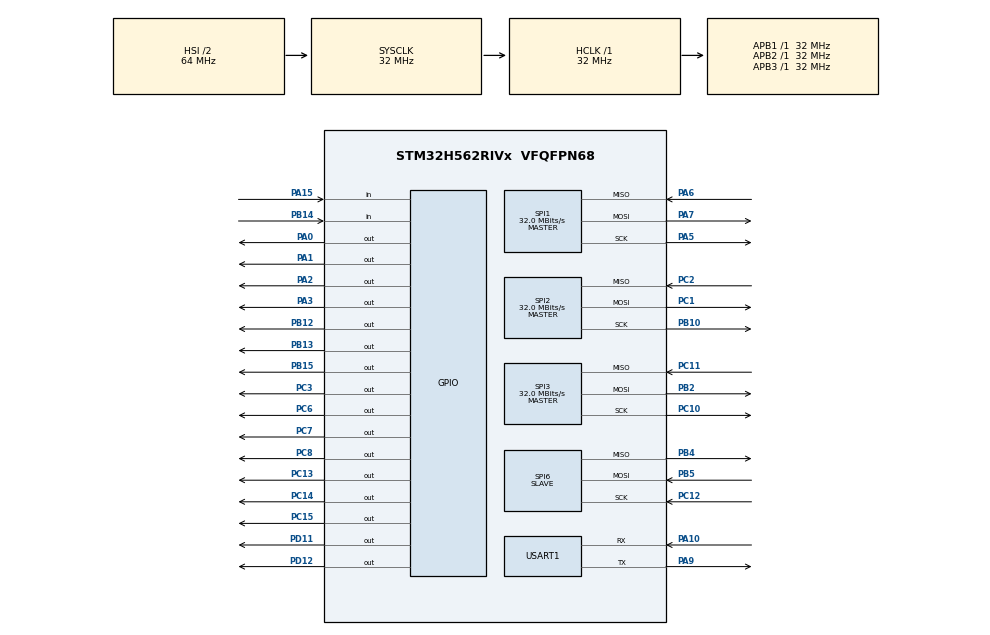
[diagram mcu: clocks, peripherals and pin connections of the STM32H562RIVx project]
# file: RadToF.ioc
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BOOTPATH.BootPathName=LEGACY
BOOTPATH.UserSelectedBootPath=LEGACY
CORTEX_M33_NS.userName=CORTEX_M33
Mcu.Family=STM32H5
Mcu.Name=STM32H562RIVx
Mcu.Package=VFQFPN68
NVIC.PriorityGroup=NVIC_PRIORITYGROUP_4
PA0.Signal=GPIO_Output
PA1.Signal=GPIO_Output
PA10.Mode=Asynchronous
PA10.Signal=USART1_RX
PA13(JTMS/SWDIO).Mode=Serial_Wire
PA13(JTMS/SWDIO).Signal=DEBUG_JTMS-SWDIO
PA14(JTCK/SWCLK).Mode=Serial_Wire
PA14(JTCK/SWCLK).Signal=DEBUG_JTCK-SWCLK
PA15(JTDI).Signal=GPIO_Input
PA2.Signal=GPIO_Output
PA3.Signal=GPIO_Output
PA5.Mode=Full_Duplex_Master
PA5.Signal=SPI1_SCK
PA6.Mode=Full_Duplex_Master
PA6.Signal=SPI1_MISO
PA7.Mode=Full_Duplex_Master
PA7.Signal=SPI1_MOSI
PA9.Mode=Asynchronous
PA9.Signal=USART1_TX
PB10.Mode=Full_Duplex_Master
PB10.Signal=SPI2_SCK
PB12.Signal=GPIO_Output
PB13.Signal=GPIO_Output
PB14.Signal=GPIO_Input
PB15.Signal=GPIO_Output
PB2.Mode=Full_Duplex_Master
PB2.Signal=SPI3_MOSI
PB3(JTDO/TRACESWO).Signal=DEBUG_JTDO-SWO
PB4(NJTRST).Mode=Full_Duplex_Slave
PB4(NJTRST).Signal=SPI6_MISO
PB5.Mode=Full_Duplex_Slave
PB5.Signal=SPI6_MOSI
PC1.Mode=Full_Duplex_Master
PC1.Signal=SPI2_MOSI
PC10.Mode=Full_Duplex_Master
PC10.Signal=SPI3_SCK
PC11.Mode=Full_Duplex_Master
PC11.Signal=SPI3_MISO
PC12.Mode=Full_Duplex_Slave
PC12.Signal=SPI6_SCK
PC13.Signal=GPIO_Output
PC14-OSC32_IN(OSC32_IN).Signal=GPIO_Output
PC15-OSC32_OUT(OSC32_OUT).Signal=GPIO_Output
PC2.Mode=Full_Duplex_Master
PC2.Signal=SPI2_MISO
PC3.Signal=GPIO_Output
PC6.Signal=GPIO_Output
PC7.Signal=GPIO_Output
PC8.Signal=GPIO_Output
PD11.Signal=GPIO_Output
PD12.Signal=GPIO_Output
ProjectManager.HeapSize=0x200
ProjectManager.StackSize=0x400
ProjectManager.TargetToolchain=STM32CubeIDE
RCC.ADCFreq_Value=32000000
RCC.AHBFreq_Value=32000000
RCC.APB1Freq_Value=32000000
RCC.APB1TimFreq_Value=32000000
RCC.APB2Freq_Value=32000000
RCC.APB2TimFreq_Value=32000000
RCC.APB3Freq_Value=32000000
RCC.CSI_VALUE=4000000
RCC.CortexFreq_Value=32000000
RCC.EPOD_VALUE=4000000
RCC.HCLKFreq_Value=32000000
RCC.HSE_VALUE=25000000
RCC.HSI48_VALUE=48000000
RCC.HSI_VALUE=64000000
RCC.LSE_VALUE=32768
RCC.LSIRC_VALUE=32000
RCC.PLLFRACN=0
RCC.PLLN=32
RCC.SYSCLKFreq_VALUE=32000000
RCC.USBFreq_Value=48000000
RCC.VCOOutputFreq_Value=128000000
SPI1.CalculateBaudRate=32.0 MBits/s
SPI1.DataSize=SPI_DATASIZE_8BIT
SPI1.Direction=SPI_DIRECTION_2LINES
SPI1.Mode=SPI_MODE_MASTER
SPI1.VirtualType=VM_MASTER
SPI2.CalculateBaudRate=32.0 MBits/s
SPI2.DataSize=SPI_DATASIZE_8BIT
SPI2.Direction=SPI_DIRECTION_2LINES
SPI2.Mode=SPI_MODE_MASTER
SPI2.VirtualType=VM_MASTER
SPI3.BaudRatePrescaler=SPI_BAUDRATEPRESCALER_2
SPI3.CLKPhase=SPI_PHASE_2EDGE
SPI3.CLKPolarity=SPI_POLARITY_HIGH
SPI3.CalculateBaudRate=32.0 MBits/s
SPI3.DataSize=SPI_DATASIZE_8BIT
SPI3.Direction=SPI_DIRECTION_2LINES
SPI3.Mode=SPI_MODE_MASTER
SPI3.VirtualType=VM_MASTER
SPI6.Direction=SPI_DIRECTION_2LINES
SPI6.Mode=SPI_MODE_SLAVE
SPI6.VirtualType=VM_SLAVE
USART1.VirtualMode=VM_ASYNC
VP_BOOTPATH_VS_BOOTPATH.Mode=BP_Activate
VP_CORTEX_M33_NS_VS_Hclk.Mode=Hclk_Mode
VP_MEMORYMAP_VS_MEMORYMAP.Mode=CurAppReg
VP_PWR_VS_DBSignals.Mode=DisableDeadBatterySignals
VP_PWR_VS_LPOM.Mode=PowerOptimisation
VP_PWR_VS_SECSignals.Mode=Security/Privilege
board=custom

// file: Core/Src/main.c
/* USER CODE BEGIN Header */
/**
  ******************************************************************************
  * @file           : main.c
  * @brief          : Main program body
  ******************************************************************************
  * @attention
  *
  * Copyright (c) 2024 STMicroelectronics.
  * All rights reserved.
  *
  * This software is licensed under terms that can be found in the LICENSE file
  * in the root directory of this software component.
  * If no LICENSE file comes with this software, it is provided AS-IS.
  *
  ******************************************************************************
  */
/* USER CODE END Header */
#include "main.h"

/* USER CODE BEGIN Includes */
#include "bgt60utr13d.h"
#include "vl53l8cx_api.h"

/* USER CODE END Includes */

/* USER CODE BEGIN PD */
#define PRINT_ERRORS_ONLY 0

#define RAD_1_CS_PORT  GPIOC
#define RAD_1_CS_PIN   GPIO_PIN_15
#define RAD_1_RST_PORT GPIOC
#define RAD_1_RT_PIN   GPIO_PIN_13

#define RAD_2_CS_PORT  GPIOB
#define RAD_2_CS_PIN   GPIO_PIN_10
#define RAD_2_RST_PORT GPIOA
#define RAD_2_RT_PIN   GPIO_PIN_0

/* USER CODE END PD */

SPI_HandleTypeDef hspi1;
SPI_HandleTypeDef hspi2;
SPI_HandleTypeDef hspi3;
SPI_HandleTypeDef hspi6;

UART_HandleTypeDef huart1;

/* USER CODE BEGIN PV */
int status;
VL53L8CX_Configuration 	Dev;
uint8_t resolution, isAlive;
/* USER CODE END PV */

void SystemClock_Config(void);
static void MX_GPIO_Init(void);
static void MX_SPI1_Init(void);
static void MX_SPI2_Init(void);
static void MX_SPI3_Init(void);
static void MX_SPI6_Init(void);
static void MX_USART1_UART_Init(void);

/* USER CODE BEGIN 0 */

// Functions for handle struct
bgt60utr13d_err_t read_regs_1(const uint8_t *send_buf, uint32_t n, uint8_t *buf)
{
  //Enable CS (LOW)
  HAL_GPIO_WritePin(RAD_1_CS_PORT, RAD_1_CS_PIN, GPIO_PIN_RESET);
  //Transmit and Receive Message
  if(HAL_SPI_TransmitReceive(&hspi1, send_buf, buf, n, HAL_MAX_DELAY) != HAL_OK){
    printf("--[READ] Failed\r\n");
    return E_BGT60UTR13D_COM_ERR;
  }
  //Release CS (HIGH)
  HAL_GPIO_WritePin(RAD_1_CS_PORT, RAD_1_CS_PIN, GPIO_PIN_SET);
  return E_BGT60UTR13D_SUCCESS;
}

bgt60utr13d_err_t write_regs_1(const uint8_t *send_buf, uint32_t n)
{
  //Enable CS (LOW)
  HAL_GPIO_WritePin(RAD_1_CS_PORT, RAD_1_CS_PIN, GPIO_PIN_RESET);
  //Transmit Message
  if(HAL_SPI_Transmit(&hspi1, send_buf, n, HAL_MAX_DELAY) != HAL_OK){
    printf("--[WRITE] Failed\r\n");
    return E_BGT60UTR13D_COM_ERR;
  }
  //Release CS (HIGH)
  HAL_GPIO_WritePin(RAD_1_CS_PORT, RAD_1_CS_PIN, GPIO_PIN_SET);
  return E_BGT60UTR13D_SUCCESS;
}

bgt60utr13d_err_t read_regs_2(const uint8_t *send_buf, uint32_t n, uint8_t *buf)
{
  //Enable CS (LOW)
  HAL_GPIO_WritePin(RAD_2_CS_PORT, RAD_2_CS_PIN, GPIO_PIN_RESET);
  //Transmit and Receive Message
  if(HAL_SPI_TransmitReceive(&hspi2, send_buf, buf, n, HAL_MAX_DELAY) != HAL_OK){
    printf("--[READ] Failed\r\n");
    return E_BGT60UTR13D_COM_ERR;
  }
  //Release CS (HIGH)
  HAL_GPIO_WritePin(RAD_2_CS_PORT, RAD_2_CS_PIN, GPIO_PIN_SET);
  return E_BGT60UTR13D_SUCCESS;
}

bgt60utr13d_err_t write_regs_2(const uint8_t *send_buf, uint32_t n)
{
  //Enable CS (LOW)
  HAL_GPIO_WritePin(RAD_2_CS_PORT, RAD_2_CS_PIN, GPIO_PIN_RESET);
  //Transmit Message
  if(HAL_SPI_Transmit(&hspi2, send_buf, n, HAL_MAX_DELAY) != HAL_OK){
    printf("--[WRITE] Failed\r\n");
    return E_BGT60UTR13D_COM_ERR;
  }
  //Release CS (HIGH)
  HAL_GPIO_WritePin(RAD_2_CS_PORT, RAD_2_CS_PIN, GPIO_PIN_SET);
  return E_BGT60UTR13D_SUCCESS;
}

void drvrlog(char *msg, bool is_err, bool has_int_arg, uint32_t arg)
{
  if(!PRINT_ERRORS_ONLY | is_err)
  {
    if (has_int_arg) {
      printf("%s: %s %#010x\r\n", is_err ? "ERR" : "LOG", msg, arg);
    } else {
      printf("%s: %s\r\n", is_err ? "ERR" : "LOG", msg);
    }
  }
}

/* USER CODE END 0 */

int main(void)
{

  /* MCU Configuration--------------------------------------------------------*/

  /* Reset of all peripherals, Initializes the Flash interface and the Systick. */
  HAL_Init();

  /* Configure the system clock */
  SystemClock_Config();

  printf("board booted\n");

  /* Initialize all configured peripherals */
  MX_GPIO_Init();
  MX_SPI1_Init();
  MX_SPI2_Init();
  MX_SPI3_Init();
  MX_SPI6_Init();
  MX_USART1_UART_Init();
  /* USER CODE BEGIN 2 */
  /*CHECK RADAR FOR CONNECTIVITY ______________________________________________________*/
  struct bgt60utr13d_h h_1 = {
      .read_regs = read_regs_1,
      .write_regs = write_regs_1,
      .log = drvrlog,
  };

  struct bgt60utr13d_h h_2 = {
        .read_regs = read_regs_2,
        .write_regs = write_regs_2,
        .log = drvrlog,
    };

  if (bgt60utr13d_init(&h_1) != E_BGT60UTR13D_SUCCESS) {
	  printf("Driver Init failed!\n");
      return -1;
  }

  if (bgt60utr13d_init(&h_2) != E_BGT60UTR13D_SUCCESS) {
  	  printf("Driver Init failed!\n");
        return -1;
    }
  /*CHECK RADAR FOR CONNECTIVITY ______________________________________________________*/

  /*CHECK TOF FOR CONNECTIVITY ______________________________________________________*/
  status = vl53l8cx_is_alive(&Dev, &isAlive);
  if(!isAlive)
  {
	  printf("VL53L8CX with SPI communication not detected, error : %d\n", status);
	  return 255;
  }
  printf("VL53l8cx is alive!\n");

  printf("proceeding to GPIO port check\n");

  for(int i = 0; i < 10; i++) {
	  HAL_GPIO_WritePin(GPIOB, GPIO_PIN_13, GPIO_PIN_SET);
	  HAL_GPIO_WritePin(GPIOB, GPIO_PIN_12, GPIO_PIN_SET);
	  HAL_GPIO_WritePin(GPIOA, GPIO_PIN_3, GPIO_PIN_SET);
	  HAL_GPIO_WritePin(GPIOC, GPIO_PIN_3, GPIO_PIN_SET);
	  HAL_Delay(1000);

	  HAL_GPIO_WritePin(GPIOB, GPIO_PIN_13, GPIO_PIN_RESET);
	  HAL_GPIO_WritePin(GPIOB, GPIO_PIN_12, GPIO_PIN_RESET);
	  HAL_GPIO_WritePin(GPIOA, GPIO_PIN_3, GPIO_PIN_RESET);
	  HAL_GPIO_WritePin(GPIOC, GPIO_PIN_3, GPIO_PIN_RESET);
	  HAL_Delay(1000);
  }
  /*CHECK TOF FOR CONNECTIVITY ______________________________________________________*/
  /* USER CODE END 2 */

  /* Infinite loop */
  while (1)
  {

  }
}

void SystemClock_Config(void)
{
  RCC_OscInitTypeDef RCC_OscInitStruct = {0};
  RCC_ClkInitTypeDef RCC_ClkInitStruct = {0};

  /** Configure the main internal regulator output voltage
  */
  __HAL_PWR_VOLTAGESCALING_CONFIG(PWR_REGULATOR_VOLTAGE_SCALE3);

  while(!__HAL_PWR_GET_FLAG(PWR_FLAG_VOSRDY)) {}

  /** Initializes the RCC Oscillators according to the specified parameters
  * in the RCC_OscInitTypeDef structure.
  */
  RCC_OscInitStruct.OscillatorType = RCC_OSCILLATORTYPE_HSI|RCC_OSCILLATORTYPE_CSI;
  RCC_OscInitStruct.HSIState = RCC_HSI_ON;
  RCC_OscInitStruct.HSIDiv = RCC_HSI_DIV2;
  RCC_OscInitStruct.HSICalibrationValue = RCC_HSICALIBRATION_DEFAULT;
  RCC_OscInitStruct.CSIState = RCC_CSI_ON;
  RCC_OscInitStruct.CSICalibrationValue = RCC_CSICALIBRATION_DEFAULT;
  RCC_OscInitStruct.PLL.PLLState = RCC_PLL_ON;
  RCC_OscInitStruct.PLL.PLLSource = RCC_PLL1_SOURCE_CSI;
  RCC_OscInitStruct.PLL.PLLM = 1;
  RCC_OscInitStruct.PLL.PLLN = 32;
  RCC_OscInitStruct.PLL.PLLP = 2;
  RCC_OscInitStruct.PLL.PLLQ = 2;
  RCC_OscInitStruct.PLL.PLLR = 2;
  RCC_OscInitStruct.PLL.PLLRGE = RCC_PLL1_VCIRANGE_2;
  RCC_OscInitStruct.PLL.PLLVCOSEL = RCC_PLL1_VCORANGE_WIDE;
  RCC_OscInitStruct.PLL.PLLFRACN = 0;
  if (HAL_RCC_OscConfig(&RCC_OscInitStruct) != HAL_OK)
  {
    Error_Handler();
  }

  /** Initializes the CPU, AHB and APB buses clocks
  */
  RCC_ClkInitStruct.ClockType = RCC_CLOCKTYPE_HCLK|RCC_CLOCKTYPE_SYSCLK
                              |RCC_CLOCKTYPE_PCLK1|RCC_CLOCKTYPE_PCLK2
                              |RCC_CLOCKTYPE_PCLK3;
  RCC_ClkInitStruct.SYSCLKSource = RCC_SYSCLKSOURCE_HSI;
  RCC_ClkInitStruct.AHBCLKDivider = RCC_SYSCLK_DIV1;
  RCC_ClkInitStruct.APB1CLKDivider = RCC_HCLK_DIV1;
  RCC_ClkInitStruct.APB2CLKDivider = RCC_HCLK_DIV1;
  RCC_ClkInitStruct.APB3CLKDivider = RCC_HCLK_DIV1;

  if (HAL_RCC_ClockConfig(&RCC_ClkInitStruct, FLASH_LATENCY_1) != HAL_OK)
  {
    Error_Handler();
  }
}

static void MX_SPI1_Init(void)
{

  /* SPI1 parameter configuration*/
  hspi1.Instance = SPI1;
  hspi1.Init.Mode = SPI_MODE_MASTER;
  hspi1.Init.Direction = SPI_DIRECTION_2LINES;
  hspi1.Init.DataSize = SPI_DATASIZE_8BIT;
  hspi1.Init.CLKPolarity = SPI_POLARITY_LOW;
  hspi1.Init.CLKPhase = SPI_PHASE_1EDGE;
  hspi1.Init.NSS = SPI_NSS_SOFT;
  hspi1.Init.BaudRatePrescaler = SPI_BAUDRATEPRESCALER_2;
  hspi1.Init.FirstBit = SPI_FIRSTBIT_MSB;
  hspi1.Init.TIMode = SPI_TIMODE_DISABLE;
  hspi1.Init.CRCCalculation = SPI_CRCCALCULATION_DISABLE;
  hspi1.Init.CRCPolynomial = 0x7;
  hspi1.Init.NSSPMode = SPI_NSS_PULSE_ENABLE;
  hspi1.Init.NSSPolarity = SPI_NSS_POLARITY_LOW;
  hspi1.Init.FifoThreshold = SPI_FIFO_THRESHOLD_01DATA;
  hspi1.Init.MasterSSIdleness = SPI_MASTER_SS_IDLENESS_00CYCLE;
  hspi1.Init.MasterInterDataIdleness = SPI_MASTER_INTERDATA_IDLENESS_00CYCLE;
  hspi1.Init.MasterReceiverAutoSusp = SPI_MASTER_RX_AUTOSUSP_DISABLE;
  hspi1.Init.MasterKeepIOState = SPI_MASTER_KEEP_IO_STATE_DISABLE;
  hspi1.Init.IOSwap = SPI_IO_SWAP_DISABLE;
  hspi1.Init.ReadyMasterManagement = SPI_RDY_MASTER_MANAGEMENT_INTERNALLY;
  hspi1.Init.ReadyPolarity = SPI_RDY_POLARITY_HIGH;
  if (HAL_SPI_Init(&hspi1) != HAL_OK)
  {
    Error_Handler();
  }

}

static void MX_SPI2_Init(void)
{

  /* SPI2 parameter configuration*/
  hspi2.Instance = SPI2;
  hspi2.Init.Mode = SPI_MODE_MASTER;
  hspi2.Init.Direction = SPI_DIRECTION_2LINES;
  hspi2.Init.DataSize = SPI_DATASIZE_8BIT;
  hspi2.Init.CLKPolarity = SPI_POLARITY_LOW;
  hspi2.Init.CLKPhase = SPI_PHASE_1EDGE;
  hspi2.Init.NSS = SPI_NSS_SOFT;
  hspi2.Init.BaudRatePrescaler = SPI_BAUDRATEPRESCALER_2;
  hspi2.Init.FirstBit = SPI_FIRSTBIT_MSB;
  hspi2.Init.TIMode = SPI_TIMODE_DISABLE;
  hspi2.Init.CRCCalculation = SPI_CRCCALCULATION_DISABLE;
  hspi2.Init.CRCPolynomial = 0x7;
  hspi2.Init.NSSPMode = SPI_NSS_PULSE_ENABLE;
  hspi2.Init.NSSPolarity = SPI_NSS_POLARITY_LOW;
  hspi2.Init.FifoThreshold = SPI_FIFO_THRESHOLD_01DATA;
  hspi2.Init.MasterSSIdleness = SPI_MASTER_SS_IDLENESS_00CYCLE;
  hspi2.Init.MasterInterDataIdleness = SPI_MASTER_INTERDATA_IDLENESS_00CYCLE;
  hspi2.Init.MasterReceiverAutoSusp = SPI_MASTER_RX_AUTOSUSP_DISABLE;
  hspi2.Init.MasterKeepIOState = SPI_MASTER_KEEP_IO_STATE_DISABLE;
  hspi2.Init.IOSwap = SPI_IO_SWAP_DISABLE;
  hspi2.Init.ReadyMasterManagement = SPI_RDY_MASTER_MANAGEMENT_INTERNALLY;
  hspi2.Init.ReadyPolarity = SPI_RDY_POLARITY_HIGH;
  if (HAL_SPI_Init(&hspi2) != HAL_OK)
  {
    Error_Handler();
  }

}

static void MX_SPI3_Init(void)
{

  /* SPI3 parameter configuration*/
  hspi3.Instance = SPI3;
  hspi3.Init.Mode = SPI_MODE_MASTER;
  hspi3.Init.Direction = SPI_DIRECTION_2LINES;
  hspi3.Init.DataSize = SPI_DATASIZE_8BIT;
  hspi3.Init.CLKPolarity = SPI_POLARITY_HIGH;
  hspi3.Init.CLKPhase = SPI_PHASE_2EDGE;
  hspi3.Init.NSS = SPI_NSS_SOFT;
  hspi3.Init.BaudRatePrescaler = SPI_BAUDRATEPRESCALER_2;
  hspi3.Init.FirstBit = SPI_FIRSTBIT_MSB;
  hspi3.Init.TIMode = SPI_TIMODE_DISABLE;
  hspi3.Init.CRCCalculation = SPI_CRCCALCULATION_DISABLE;
  hspi3.Init.CRCPolynomial = 0x7;
  hspi3.Init.NSSPMode = SPI_NSS_PULSE_DISABLE;
  hspi3.Init.NSSPolarity = SPI_NSS_POLARITY_LOW;
  hspi3.Init.FifoThreshold = SPI_FIFO_THRESHOLD_01DATA;
  hspi3.Init.MasterSSIdleness = SPI_MASTER_SS_IDLENESS_00CYCLE;
  hspi3.Init.MasterInterDataIdleness = SPI_MASTER_INTERDATA_IDLENESS_00CYCLE;
  hspi3.Init.MasterReceiverAutoSusp = SPI_MASTER_RX_AUTOSUSP_DISABLE;
  hspi3.Init.MasterKeepIOState = SPI_MASTER_KEEP_IO_STATE_DISABLE;
  hspi3.Init.IOSwap = SPI_IO_SWAP_DISABLE;
  hspi3.Init.ReadyMasterManagement = SPI_RDY_MASTER_MANAGEMENT_INTERNALLY;
  hspi3.Init.ReadyPolarity = SPI_RDY_POLARITY_HIGH;
  if (HAL_SPI_Init(&hspi3) != HAL_OK)
  {
    Error_Handler();
  }

}

static void MX_SPI6_Init(void)
{

  /* SPI6 parameter configuration*/
  hspi6.Instance = SPI6;
  hspi6.Init.Mode = SPI_MODE_SLAVE;
  hspi6.Init.Direction = SPI_DIRECTION_2LINES;
  hspi6.Init.DataSize = SPI_DATASIZE_4BIT;
  hspi6.Init.CLKPolarity = SPI_POLARITY_LOW;
  hspi6.Init.CLKPhase = SPI_PHASE_1EDGE;
  hspi6.Init.NSS = SPI_NSS_SOFT;
  hspi6.Init.FirstBit = SPI_FIRSTBIT_MSB;
  hspi6.Init.TIMode = SPI_TIMODE_DISABLE;
  hspi6.Init.CRCCalculation = SPI_CRCCALCULATION_DISABLE;
  hspi6.Init.CRCPolynomial = 0x7;
  hspi6.Init.NSSPMode = SPI_NSS_PULSE_DISABLE;
  hspi6.Init.NSSPolarity = SPI_NSS_POLARITY_LOW;
  hspi6.Init.FifoThreshold = SPI_FIFO_THRESHOLD_01DATA;
  hspi6.Init.MasterSSIdleness = SPI_MASTER_SS_IDLENESS_00CYCLE;
  hspi6.Init.MasterInterDataIdleness = SPI_MASTER_INTERDATA_IDLENESS_00CYCLE;
  hspi6.Init.MasterReceiverAutoSusp = SPI_MASTER_RX_AUTOSUSP_DISABLE;
  hspi6.Init.MasterKeepIOState = SPI_MASTER_KEEP_IO_STATE_DISABLE;
  hspi6.Init.IOSwap = SPI_IO_SWAP_DISABLE;
  hspi6.Init.ReadyMasterManagement = SPI_RDY_MASTER_MANAGEMENT_INTERNALLY;
  hspi6.Init.ReadyPolarity = SPI_RDY_POLARITY_HIGH;
  if (HAL_SPI_Init(&hspi6) != HAL_OK)
  {
    Error_Handler();
  }

}

static void MX_USART1_UART_Init(void)
{

  huart1.Instance = USART1;
  huart1.Init.BaudRate = 115200;
  huart1.Init.WordLength = UART_WORDLENGTH_8B;
  huart1.Init.StopBits = UART_STOPBITS_1;
  huart1.Init.Parity = UART_PARITY_NONE;
  huart1.Init.Mode = UART_MODE_TX_RX;
  huart1.Init.HwFlowCtl = UART_HWCONTROL_NONE;
  huart1.Init.OverSampling = UART_OVERSAMPLING_16;
  huart1.Init.OneBitSampling = UART_ONE_BIT_SAMPLE_DISABLE;
  huart1.Init.ClockPrescaler = UART_PRESCALER_DIV1;
  huart1.AdvancedInit.AdvFeatureInit = UART_ADVFEATURE_NO_INIT;
  if (HAL_UART_Init(&huart1) != HAL_OK)
  {
    Error_Handler();
  }
  if (HAL_UARTEx_SetTxFifoThreshold(&huart1, UART_TXFIFO_THRESHOLD_1_8) != HAL_OK)
  {
    Error_Handler();
  }
  if (HAL_UARTEx_SetRxFifoThreshold(&huart1, UART_RXFIFO_THRESHOLD_1_8) != HAL_OK)
  {
    Error_Handler();
  }
  if (HAL_UARTEx_DisableFifoMode(&huart1) != HAL_OK)
  {
    Error_Handler();
  }

}

static void MX_GPIO_Init(void)
{
  GPIO_InitTypeDef GPIO_InitStruct = {0};

  /* GPIO Ports Clock Enable */
  __HAL_RCC_GPIOC_CLK_ENABLE();
  __HAL_RCC_GPIOA_CLK_ENABLE();
  __HAL_RCC_GPIOB_CLK_ENABLE();
  __HAL_RCC_GPIOD_CLK_ENABLE();

  /*Configure GPIO pin Output Level */
  HAL_GPIO_WritePin(GPIOC, GPIO_PIN_13|GPIO_PIN_14|GPIO_PIN_15|GPIO_PIN_3
                          |GPIO_PIN_6|GPIO_PIN_7|GPIO_PIN_8, GPIO_PIN_RESET);

  /*Configure GPIO pin Output Level */
  HAL_GPIO_WritePin(GPIOA, GPIO_PIN_0|GPIO_PIN_1|GPIO_PIN_2|GPIO_PIN_3, GPIO_PIN_RESET);

  /*Configure GPIO pin Output Level */
  HAL_GPIO_WritePin(GPIOB, GPIO_PIN_12|GPIO_PIN_13|GPIO_PIN_15, GPIO_PIN_RESET);

  /*Configure GPIO pin Output Level */
  HAL_GPIO_WritePin(GPIOD, GPIO_PIN_11|GPIO_PIN_12, GPIO_PIN_RESET);

  /*Configure GPIO pins : PC13 PC14 PC15 PC3
                           PC6 PC7 PC8 */
  GPIO_InitStruct.Pin = GPIO_PIN_13|GPIO_PIN_14|GPIO_PIN_15|GPIO_PIN_3
                          |GPIO_PIN_6|GPIO_PIN_7|GPIO_PIN_8;
  GPIO_InitStruct.Mode = GPIO_MODE_OUTPUT_PP;
  GPIO_InitStruct.Pull = GPIO_NOPULL;
  GPIO_InitStruct.Speed = GPIO_SPEED_FREQ_LOW;
  HAL_GPIO_Init(GPIOC, &GPIO_InitStruct);

  /*Configure GPIO pins : PA0 PA1 PA2 PA3 */
  GPIO_InitStruct.Pin = GPIO_PIN_0|GPIO_PIN_1|GPIO_PIN_2|GPIO_PIN_3;
  GPIO_InitStruct.Mode = GPIO_MODE_OUTPUT_PP;
  GPIO_InitStruct.Pull = GPIO_NOPULL;
  GPIO_InitStruct.Speed = GPIO_SPEED_FREQ_LOW;
  HAL_GPIO_Init(GPIOA, &GPIO_InitStruct);

  /*Configure GPIO pins : PB12 PB13 PB15 */
  GPIO_InitStruct.Pin = GPIO_PIN_12|GPIO_PIN_13|GPIO_PIN_15;
  GPIO_InitStruct.Mode = GPIO_MODE_OUTPUT_PP;
  GPIO_InitStruct.Pull = GPIO_NOPULL;
  GPIO_InitStruct.Speed = GPIO_SPEED_FREQ_LOW;
  HAL_GPIO_Init(GPIOB, &GPIO_InitStruct);

  /*Configure GPIO pin : PB14 */
  GPIO_InitStruct.Pin = GPIO_PIN_14;
  GPIO_InitStruct.Mode = GPIO_MODE_INPUT;
  GPIO_InitStruct.Pull = GPIO_NOPULL;
  HAL_GPIO_Init(GPIOB, &GPIO_InitStruct);

  /*Configure GPIO pins : PD11 PD12 */
  GPIO_InitStruct.Pin = GPIO_PIN_11|GPIO_PIN_12;
  GPIO_InitStruct.Mode = GPIO_MODE_OUTPUT_PP;
  GPIO_InitStruct.Pull = GPIO_NOPULL;
  GPIO_InitStruct.Speed = GPIO_SPEED_FREQ_LOW;
  HAL_GPIO_Init(GPIOD, &GPIO_InitStruct);

  /*Configure GPIO pin : PA15 */
  GPIO_InitStruct.Pin = GPIO_PIN_15;
  GPIO_InitStruct.Mode = GPIO_MODE_INPUT;
  GPIO_InitStruct.Pull = GPIO_NOPULL;
  HAL_GPIO_Init(GPIOA, &GPIO_InitStruct);

}

void Error_Handler(void)
{
  __disable_irq();
  while (1)
  {
  }
}
